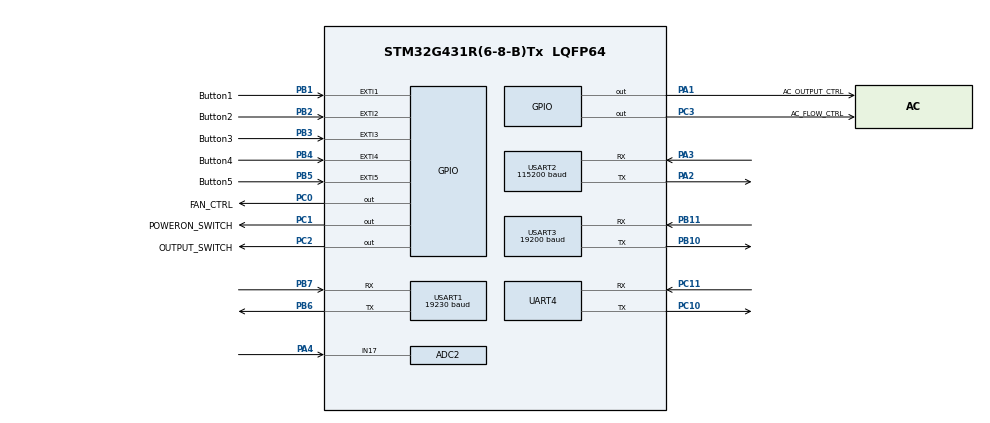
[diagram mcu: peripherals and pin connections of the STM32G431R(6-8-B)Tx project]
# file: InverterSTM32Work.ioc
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ADC2.Channel-0\#ChannelRegularConversion=ADC_CHANNEL_17
ADC2.ClockPrescaler=ADC_CLOCK_ASYNC_DIV64
ADC2.ContinuousConvMode=ENABLE
ADC2.DMAContinuousRequests=DISABLE
ADC2.NbrOfConversionFlag=1
ADC2.OffsetNumber-0\#ChannelRegularConversion=ADC_OFFSET_NONE
ADC2.Rank-0\#ChannelRegularConversion=1
ADC2.SamplingTime-0\#ChannelRegularConversion=ADC_SAMPLETIME_6CYCLES_5
Dma.ADC2.2.Direction=DMA_PERIPH_TO_MEMORY
Dma.ADC2.2.EventEnable=DISABLE
Dma.ADC2.2.Instance=DMA1_Channel3
Dma.ADC2.2.MemDataAlignment=DMA_MDATAALIGN_HALFWORD
Dma.ADC2.2.MemInc=DMA_MINC_ENABLE
Dma.ADC2.2.Mode=DMA_CIRCULAR
Dma.ADC2.2.PeriphDataAlignment=DMA_PDATAALIGN_HALFWORD
Dma.ADC2.2.PeriphInc=DMA_PINC_DISABLE
Dma.ADC2.2.Polarity=HAL_DMAMUX_REQ_GEN_RISING
Dma.ADC2.2.Priority=DMA_PRIORITY_HIGH
Dma.ADC2.2.RequestNumber=1
Dma.ADC2.2.SignalID=NONE
Dma.ADC2.2.SyncEnable=DISABLE
Dma.ADC2.2.SyncPolarity=HAL_DMAMUX_SYNC_NO_EVENT
Dma.ADC2.2.SyncRequestNumber=1
Dma.ADC2.2.SyncSignalID=NONE
Dma.Request0=USART1_RX
Dma.Request1=USART3_RX
Dma.Request2=ADC2
Dma.USART1_RX.0.Direction=DMA_PERIPH_TO_MEMORY
Dma.USART1_RX.0.EventEnable=DISABLE
Dma.USART1_RX.0.Instance=DMA2_Channel1
Dma.USART1_RX.0.MemDataAlignment=DMA_MDATAALIGN_BYTE
Dma.USART1_RX.0.MemInc=DMA_MINC_ENABLE
Dma.USART1_RX.0.Mode=DMA_NORMAL
Dma.USART1_RX.0.PeriphDataAlignment=DMA_PDATAALIGN_BYTE
Dma.USART1_RX.0.PeriphInc=DMA_PINC_DISABLE
Dma.USART1_RX.0.Polarity=HAL_DMAMUX_REQ_GEN_RISING
Dma.USART1_RX.0.Priority=DMA_PRIORITY_HIGH
Dma.USART1_RX.0.RequestNumber=1
Dma.USART1_RX.0.SignalID=NONE
Dma.USART1_RX.0.SyncEnable=DISABLE
Dma.USART1_RX.0.SyncPolarity=HAL_DMAMUX_SYNC_NO_EVENT
Dma.USART1_RX.0.SyncRequestNumber=1
Dma.USART1_RX.0.SyncSignalID=NONE
Dma.USART3_RX.1.Direction=DMA_PERIPH_TO_MEMORY
Dma.USART3_RX.1.EventEnable=DISABLE
Dma.USART3_RX.1.Instance=DMA2_Channel2
Dma.USART3_RX.1.MemDataAlignment=DMA_MDATAALIGN_BYTE
Dma.USART3_RX.1.MemInc=DMA_MINC_ENABLE
Dma.USART3_RX.1.Mode=DMA_NORMAL
Dma.USART3_RX.1.PeriphDataAlignment=DMA_PDATAALIGN_BYTE
Dma.USART3_RX.1.PeriphInc=DMA_PINC_DISABLE
Dma.USART3_RX.1.Polarity=HAL_DMAMUX_REQ_GEN_RISING
Dma.USART3_RX.1.Priority=DMA_PRIORITY_HIGH
Dma.USART3_RX.1.RequestNumber=1
Dma.USART3_RX.1.SignalID=NONE
Dma.USART3_RX.1.SyncEnable=DISABLE
Dma.USART3_RX.1.SyncPolarity=HAL_DMAMUX_SYNC_NO_EVENT
Dma.USART3_RX.1.SyncRequestNumber=1
Dma.USART3_RX.1.SyncSignalID=NONE
Mcu.Family=STM32G4
Mcu.Name=STM32G431R(6-8-B)Tx
Mcu.Package=LQFP64
NVIC.EXTI1_IRQn=true\:0\:0\:false\:false\:true\:true\:true\:true
NVIC.EXTI2_IRQn=true\:0\:0\:false\:false\:true\:true\:true\:true
NVIC.EXTI3_IRQn=true\:0\:0\:false\:false\:true\:true\:true\:true
NVIC.EXTI4_IRQn=true\:0\:0\:false\:false\:true\:true\:true\:true
NVIC.EXTI9_5_IRQn=true\:0\:0\:false\:false\:true\:true\:true\:true
NVIC.PriorityGroup=NVIC_PRIORITYGROUP_4
NVIC.TIM6_DAC_IRQn=true\:0\:0\:false\:false\:true\:true\:true\:true
NVIC.USART1_IRQn=true\:0\:0\:false\:false\:true\:true\:true\:true
NVIC.USART3_IRQn=true\:0\:0\:false\:false\:true\:true\:true\:true
PA1.GPIO_Label=AC_OUTPUT_CTRL
PA1.PinState=GPIO_PIN_RESET
PA1.Signal=GPIO_Output
PA13.Mode=Serial_Wire
PA13.Signal=SYS_JTMS-SWDIO
PA14.Mode=Serial_Wire
PA14.Signal=SYS_JTCK-SWCLK
PA2.Mode=Asynchronous
PA2.Signal=USART2_TX
PA3.Mode=Asynchronous
PA3.Signal=USART2_RX
PA4.Mode=IN17-Single-Ended
PA4.Signal=ADC2_IN17
PB1.GPIO_Label=Button1
PB1.GPIO_ModeDefaultEXTI=GPIO_MODE_IT_FALLING
PB1.GPIO_PuPd=GPIO_PULLUP
PB1.Signal=GPXTI1
PB10.Mode=Asynchronous
PB10.Signal=USART3_TX
PB11.Mode=Asynchronous
PB11.Signal=USART3_RX
PB2.GPIO_Label=Button2
PB2.GPIO_ModeDefaultEXTI=GPIO_MODE_IT_FALLING
PB2.GPIO_PuPd=GPIO_PULLUP
PB2.Signal=GPXTI2
PB3.GPIO_Label=Button3
PB3.GPIO_ModeDefaultEXTI=GPIO_MODE_IT_FALLING
PB3.GPIO_PuPd=GPIO_PULLUP
PB3.Signal=GPXTI3
PB4.GPIO_Label=Button4
PB4.GPIO_ModeDefaultEXTI=GPIO_MODE_IT_FALLING
PB4.GPIO_PuPd=GPIO_PULLUP
PB4.Signal=GPXTI4
PB5.GPIO_Label=Button5
PB5.GPIO_ModeDefaultEXTI=GPIO_MODE_IT_FALLING
PB5.GPIO_PuPd=GPIO_PULLUP
PB5.Signal=GPXTI5
PB6.Mode=Asynchronous
PB6.Signal=USART1_TX
PB7.Mode=Asynchronous
PB7.Signal=USART1_RX
PC0.GPIO_Label=FAN_CTRL
PC0.PinState=GPIO_PIN_RESET
PC0.Signal=GPIO_Output
PC1.GPIO_Label=POWERON_SWITCH
PC1.Signal=GPIO_Output
PC10.Mode=Asynchronous
PC10.Signal=UART4_TX
PC11.Mode=Asynchronous
PC11.Signal=UART4_RX
PC2.GPIO_Label=OUTPUT_SWITCH
PC2.Signal=GPIO_Output
PC3.GPIO_Label=AC_FLOW_CTRL
PC3.Signal=GPIO_Output
PF0-OSC_IN.Mode=HSE-External-Oscillator
PF0-OSC_IN.Signal=RCC_OSC_IN
PF1-OSC_OUT.Mode=HSE-External-Oscillator
PF1-OSC_OUT.Signal=RCC_OSC_OUT
ProjectManager.HeapSize=0x200
ProjectManager.StackSize=0x400
ProjectManager.TargetToolchain=STM32CubeIDE
RCC.ADC12CLockSelection=RCC_ADC12CLKSOURCE_PLL
RCC.ADC12Freq_Value=17000000
RCC.AHBFreq_Value=170000000
RCC.APB1Freq_Value=170000000
RCC.APB1TimFreq_Value=170000000
RCC.APB2Freq_Value=170000000
RCC.APB2TimFreq_Value=170000000
RCC.CortexFreq_Value=170000000
RCC.EXTERNAL_CLOCK_VALUE=12288000
RCC.HCLKFreq_Value=170000000
RCC.HSE_VALUE=12000000
RCC.HSI48_VALUE=48000000
RCC.HSI_VALUE=16000000
RCC.LSE_VALUE=32768
RCC.PLLM=RCC_PLLM_DIV3
RCC.PLLN=85
RCC.PLLP=RCC_PLLP_DIV20
RCC.PLLSourceVirtual=RCC_PLLSOURCE_HSE
RCC.SYSCLKFreq_VALUE=170000000
RCC.SYSCLKSource=RCC_SYSCLKSOURCE_PLLCLK
RCC.USBFreq_Value=170000000
RCC.VCOOutputFreq_Value=340000000
STMicroelectronics.X-CUBE-ALGOBUILD.1.4.0.LibraryCcDSPOoLibraryJjDSPOoLibrary=true
TIM6.AutoReloadPreload=TIM_AUTORELOAD_PRELOAD_ENABLE
TIM6.PeriodNoDither=5000-1
TIM6.Prescaler=34000-1
USART1.BaudRate=19230
USART1.VirtualMode-Asynchronous=VM_ASYNC
USART2.BaudRate=115200
USART2.VirtualMode-Asynchronous=VM_ASYNC
USART3.BaudRate=19200
USART3.VirtualMode-Asynchronous=VM_ASYNC
VP_STMicroelectronics.X-CUBE-ALGOBUILD_VS_DSPOoLibraryJjLibrary_1.4.0_1.4.0.Mode=DSPOoLibraryJjLibrary
VP_SYS_VS_DBSignals.Mode=DisableDeadBatterySignals
VP_TIM6_VS_ClockSourceINT.Mode=Enable_Timer
board=custom

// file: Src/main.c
/* USER CODE BEGIN Header */
/**
  ******************************************************************************
  * @file           : main.c
  * @brief          : Main program body
  ******************************************************************************
  * @attention
  *
  * Copyright (c) 2024 STMicroelectronics.
  * All rights reserved.
  *
  * This software is licensed under terms that can be found in the LICENSE file
  * in the root directory of this software component.
  * If no LICENSE file comes with this software, it is provided AS-IS.
  *
  ******************************************************************************
  */
/* USER CODE END Header */
#include "main.h"
#include "adc.h"
#include "dma.h"
#include "tim.h"
#include "usart.h"
#include "gpio.h"

/* USER CODE BEGIN Includes */
#include "TJCScreen.h"
#include "arm_math.h"
#include "retarget.h"
#include "Work.h"
#include "cm_backtrace.h"
/* USER CODE END Includes */

void SystemClock_Config(void);

/* USER CODE BEGIN 0 */
int recLen_DCDC = 100;
char rec_DCDC[100] = "";
int recLen_ACDC = 100;
char rec_ACDC[100] = "";
char ErrorNote[64] = "";
uint8_t isHighLight = 1;
uint8_t WantWorkState = 0;
uint8_t isError = 0;
uint8_t WorkState = 0; //0初始化中 1待机 2治理 3应急 4错误
volatile uint8_t initing_DCDC = 1, initing_ACDC = 1;
uint16_t adc_buffer[1024] = {0};
float GetAC_V();
float now_v = 0;
/* USER CODE END 0 */

int main(void) {

    /* MCU Configuration--------------------------------------------------------*/

    /* Reset of all peripherals, Initializes the Flash interface and the Systick. */
    HAL_Init();

    /* Configure the system clock */
    SystemClock_Config();

    /* USER CODE BEGIN SysInit */
    cm_backtrace_init("Hello", "1", "2");
    /* USER CODE END SysInit */

    /* Initialize all configured peripherals */
    MX_GPIO_Init();
    MX_DMA_Init();
    MX_USART1_UART_Init();
    MX_USART2_UART_Init();
    MX_USART3_UART_Init();
    MX_TIM6_Init();
    MX_ADC2_Init();
    MX_UART4_Init();
    /* USER CODE BEGIN 2 */
    //UART3 is DCDC
    //UART1 is ACDC
    //UART2 is screen

    RetargetInit(&huart4);
    /* USER CODE END 2 */

    /* Infinite loop */
    /* USER CODE BEGIN WHILE */
    TJCScreenInit(&huart2);

    HAL_ADCEx_Calibration_Start(&hadc2,ADC_SINGLE_ENDED);
    HAL_ADC_Start_DMA(&hadc2, (uint32_t *) &adc_buffer, 1024);
    HAL_TIM_Base_Start_IT(&htim6);
    while (1) {
        /* USER CODE END WHILE */

        /* USER CODE BEGIN 3 */
        //更新市电电压
        HAL_Delay(50);
        now_v = GetAC_V();
        printf("%f\r\n", now_v);
        //状态转换
        if (WantWorkState != WorkState) {
            if (WorkState == 0) {
                if (WantWorkState == 1) {
                    //希望启动
                    TurnON();
                    TJCSendTxt("state", "待机");
                    WorkState = 1;
                } else {
                    //不能进入的模式
                    WantWorkState = WorkState;
                }
            } else if (WorkState == 1) {
                //运行状态下希望的状态转换
                if (WantWorkState == 0) {
                    TurnOFF();
                    TJCSendTxt("state", "未开机");
                    TJCSendTxt("error", "未开机");
                    WorkState = WantWorkState = 0;
                } else if (WantWorkState == 2) {
                    //希望进入治理模式，需要先判断市电是是否插入
                    if (now_v > 180) {
                        //市电条件满足
                        HAL_GPIO_WritePin(AC_FLOW_CTRL_GPIO_Port, AC_FLOW_CTRL_Pin, GPIO_PIN_RESET); //向市电方向
                        HAL_GPIO_WritePin(AC_OUTPUT_CTRL_GPIO_Port, AC_OUTPUT_CTRL_Pin, GPIO_PIN_SET); //打开市电输出
                        HAL_GPIO_WritePin(FAN_CTRL_GPIO_Port, FAN_CTRL_Pin, GPIO_PIN_SET); //打开风扇
                        HAL_Delay(1000);
                        TurnON_OUTPUT(); //开启放电输出
                        TJCSendTxt("state", "电压治理模式");
                        TJCSendTxt("error","正常运行（请勿移除市电）");
                        WorkState = 2;
                    } else {
                        //市电条件不满足
                        WantWorkState = WorkState = 4; //进入错误模式
                        TJCSendTxt("state", "故障");
                        HAL_Delay(100);
                        TJCSendTxt("error", "市电未接入时不可启动电压治理");
                    }
                } else if (WantWorkState == 3) {
                    //如果想进入应急放电模式
                    if (now_v < 30) {
                        HAL_GPIO_WritePin(AC_FLOW_CTRL_GPIO_Port, AC_FLOW_CTRL_Pin, GPIO_PIN_SET); //向插头方向
                        HAL_GPIO_WritePin(AC_OUTPUT_CTRL_GPIO_Port, AC_OUTPUT_CTRL_Pin, GPIO_PIN_SET); //打开市电输出
                        HAL_GPIO_WritePin(FAN_CTRL_GPIO_Port, FAN_CTRL_Pin, GPIO_PIN_SET); //打开风扇
                        HAL_Delay(1000);
                        TurnON_OUTPUT(); //开启放电输出
                        TJCSendTxt("state", "应急放电模式");
                        TJCSendTxt("t1", "输出电压");
                        TJCSendTxt("type", "输出功率");
                        TJCSendTxt("error","正常运行（请勿接入市电）");
                        WorkState = 3;
                    } else {
                        //市电条件不满足
                        WantWorkState = WorkState = 4; //进入错误模式
                        TJCSendTxt("state", "故障");
                        TJCSendTxt("error", "市电插入时不可启动应急供电");
                    }
                } else {
                    //不能进入的模式
                    WantWorkState = WorkState;
                }
            } else if (WorkState == 2) //目前在治理模式
            {
                if (WantWorkState == 1) {
                    //希望进入待机模式
                    Restart(Normal);
                    HAL_GPIO_WritePin(FAN_CTRL_GPIO_Port, FAN_CTRL_Pin, GPIO_PIN_RESET); //关闭风扇
                    TJCSendTxt("state", "待机");
                    WorkState = 1;
                } else {
                    //不能进入的模式
                    WantWorkState = WorkState;
                }
            } else if (WorkState == 3) //目前在应急放电模式
            {
                if (WantWorkState == 1) {
                    //希望进入待机模式
                    TJCSendTxt("t1", "市电电压");
                    TJCSendTxt("type", "并网功率");
                    Restart(Normal);
                    HAL_GPIO_WritePin(FAN_CTRL_GPIO_Port, FAN_CTRL_Pin, GPIO_PIN_RESET); //关闭风扇
                    TJCSendTxt("state", "待机");
                    WorkState = 1;
                } else {
                    //不能进入的模式
                    WantWorkState = WorkState;
                }
            } else if (WorkState == 4) //目前在故障模式
            {
                if (WantWorkState == 1) {
                    //希望进入待机模式
                    Restart(ExitError);
                    HAL_GPIO_WritePin(FAN_CTRL_GPIO_Port, FAN_CTRL_Pin, GPIO_PIN_RESET); //关闭风扇
                    TJCSendTxt("state", "待机");
                    WorkState = 1;
                } else {
                    //不能进入的模式
                    WantWorkState = WorkState;
                }
            }
        }
    }
    /* USER CODE END 3 */
}

void SystemClock_Config(void) {
    LL_FLASH_SetLatency(LL_FLASH_LATENCY_4);
    while (LL_FLASH_GetLatency() != LL_FLASH_LATENCY_4) {
    }
    LL_PWR_EnableRange1BoostMode();
    LL_RCC_HSE_Enable();
    /* Wait till HSE is ready */
    while (LL_RCC_HSE_IsReady() != 1) {
    }

    LL_RCC_PLL_ConfigDomain_SYS(LL_RCC_PLLSOURCE_HSE, LL_RCC_PLLM_DIV_3, 85, LL_RCC_PLLR_DIV_2);
    LL_RCC_PLL_ConfigDomain_ADC(LL_RCC_PLLSOURCE_HSE, LL_RCC_PLLM_DIV_3, 85, LL_RCC_PLLP_DIV_20);
    LL_RCC_PLL_EnableDomain_SYS();
    LL_RCC_PLL_EnableDomain_ADC();
    LL_RCC_PLL_Enable();
    /* Wait till PLL is ready */
    while (LL_RCC_PLL_IsReady() != 1) {
    }

    LL_RCC_SetSysClkSource(LL_RCC_SYS_CLKSOURCE_PLL);
    LL_RCC_SetAHBPrescaler(LL_RCC_SYSCLK_DIV_2);
    /* Wait till System clock is ready */
    while (LL_RCC_GetSysClkSource() != LL_RCC_SYS_CLKSOURCE_STATUS_PLL) {
    }

    /* Insure 1us transition state at intermediate medium speed clock*/
    for (__IO uint32_t i = (170 >> 1); i != 0; i--);

    /* Set AHB prescaler*/
    LL_RCC_SetAHBPrescaler(LL_RCC_SYSCLK_DIV_1);
    LL_RCC_SetAPB1Prescaler(LL_RCC_APB1_DIV_1);
    LL_RCC_SetAPB2Prescaler(LL_RCC_APB2_DIV_1);
    LL_SetSystemCoreClock(170000000);

    /* Update the time base */
    if (HAL_InitTick(TICK_INT_PRIORITY) != HAL_OK) {
        Error_Handler();
    }
}

/* USER CODE BEGIN 4 */
float GetAC_V() {
    HAL_ADC_Stop_DMA(&hadc2);
    float32_t rms_303 = 0.0f;
    float32_t rms_buffer[1024] = {0};
    for (int i = 0; i < 1024; i++) {
        rms_buffer[i] = (float) adc_buffer[i] / 4096.0f * 3.3f - (3.3f / 4.0f * 2.f);
        //1:(3+1),2 Maginify
        // printf("%f\n", rms_buffer[i]);
    }
    int zeroCrossings[10] = {0};
    int zeroCrossingCount = 0;

    for (int i = 0; i < 1023; i++) {
        if (rms_buffer[i] <= 0 && rms_buffer[i + 1] > 0) {
            zeroCrossings[zeroCrossingCount++] = i;
            if (zeroCrossingCount >= 10) {
                break;
            }
        }
    }
    if (zeroCrossingCount >= 4) {
        const int startIdx = zeroCrossings[0];
        const int endIdx = zeroCrossings[3];
        const int length = endIdx - startIdx;

        arm_rms_f32(&rms_buffer[startIdx], length, &rms_303);
        rms_303 = rms_303 / 0.47f * 220.0f / 0.75f / 2.f;
    } else {
        rms_303 = 0;
    }
    HAL_ADC_Start_DMA(&hadc2, (uint32_t *) &adc_buffer, 1024);
    return rms_303;
}
void HAL_GPIO_EXTI_Callback(uint16_t GPIO_Pin) {
    if (GPIO_Pin == Button1_Pin) {
        if (HAL_GPIO_ReadPin(Button1_GPIO_Port,Button1_Pin) == GPIO_PIN_RESET) {
            //能量单元启停按钮
            if (WorkState == 0) {
                WantWorkState = 1;
            } else if (WorkState == 1) {
                WantWorkState = 0;
            }
        }
        __HAL_GPIO_EXTI_CLEAR_IT(Button1_Pin);
    } else if (GPIO_Pin == Button2_Pin) {
        if (HAL_GPIO_ReadPin(Button2_GPIO_Port,Button2_Pin) == GPIO_PIN_RESET) {
            //待机/复位按钮
            if (WorkState > 1) {
                WantWorkState = 1;
            }
        }
        __HAL_GPIO_EXTI_CLEAR_IT(Button2_Pin);
    } else if (GPIO_Pin == Button3_Pin) {
        if (HAL_GPIO_ReadPin(Button3_GPIO_Port,Button3_Pin) == GPIO_PIN_RESET) {
            //电压治理模式按钮
            WantWorkState = 2;
        }
        __HAL_GPIO_EXTI_CLEAR_IT(Button3_Pin);
    } else if (GPIO_Pin == Button4_Pin) {
        if (HAL_GPIO_ReadPin(Button4_GPIO_Port,Button4_Pin) == GPIO_PIN_RESET) {
            WantWorkState = 3;
            //应急发电模式按钮
        }
        __HAL_GPIO_EXTI_CLEAR_IT(Button4_Pin);
    } else if (GPIO_Pin == Button5_Pin) {
        if (HAL_GPIO_ReadPin(Button5_GPIO_Port,Button5_Pin) == GPIO_PIN_RESET) {
            //面板亮度调节按钮
            if (isHighLight == 1) {
                isHighLight = 0;
                TJCSendAny("dim=30");
            } else {
                isHighLight = 1;
                TJCSendAny("dim=100");
            }
        }
        __HAL_GPIO_EXTI_CLEAR_IT(Button5_Pin);
    }
}
/* USER CODE END 4 */

void Error_Handler(void) {
    __disable_irq();
    while (1) {
    }
}
